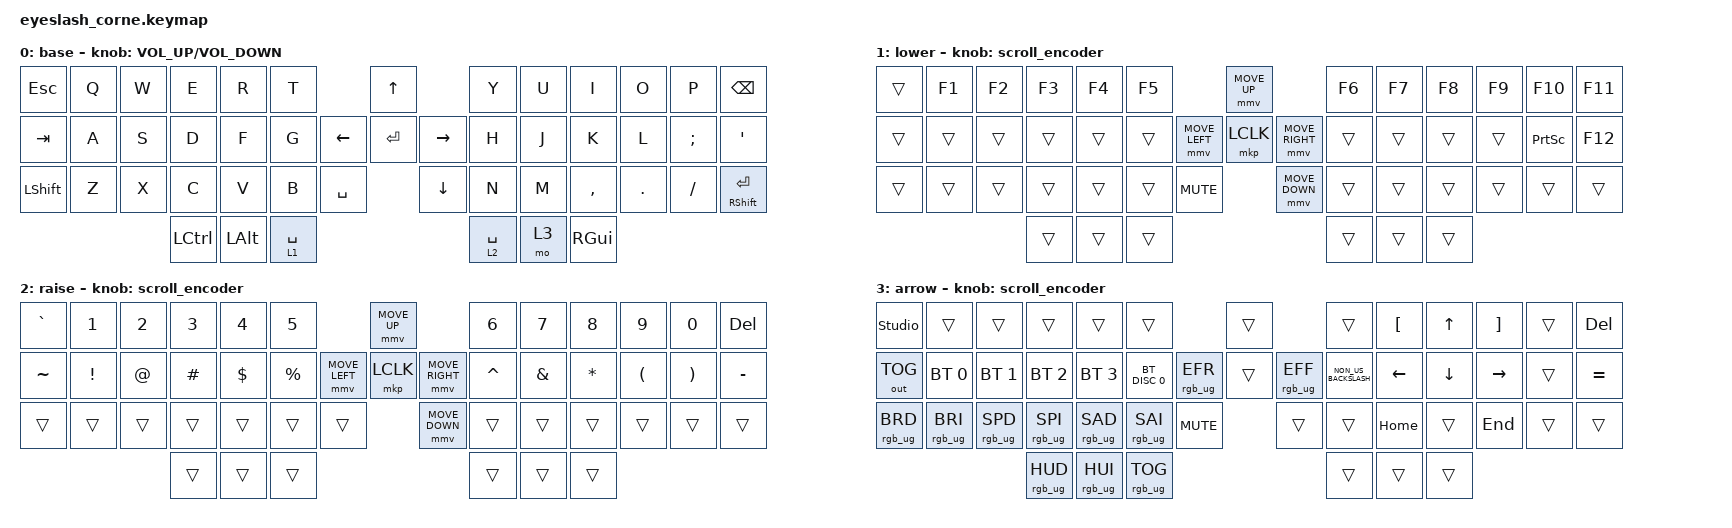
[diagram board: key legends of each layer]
#define ZMK_POINTING_DEFAULT_MOVE_VAL 1200  // 600
#define ZMK_POINTING_DEFAULT_SCRL_VAL 25   // 10

#include <input/processors.dtsi>
#include <zephyr/dt-bindings/input/input-event-codes.h>
#include <behaviors.dtsi>
#include <dt-bindings/zmk/bt.h>
#include <dt-bindings/zmk/keys.h>
#include <dt-bindings/zmk/outputs.h>
#include <dt-bindings/zmk/pointing.h>
#include <dt-bindings/zmk/rgb.h>

&mmv_input_listener { input-processors = <&zip_xy_scaler 2 1>; };

&msc_input_listener { input-processors = <&zip_scroll_scaler 2 1>; };

&msc {
    acceleration-exponent = <1>;      // 0
    time-to-max-speed-ms = <100>;       // 300
    delay-ms = <0>;                   // 0
};

&mmv {
    time-to-max-speed-ms = <500>;
    acceleration-exponent = <1>;
    trigger-period-ms = <16>;
};

&mt {
    tapping-term-ms = <150>; // 200 default
};

&lt {
    tapping-term-ms = <150>; // 200 default
};

/ {
    behaviors {
        td0: td0 {
            compatible = "zmk,behavior-tap-dance";
            display-name = "Shift/Caps Lock Tap Dance";
            #binding-cells = <0>;
            bindings = <&kp LEFT_SHIFT>, <&kp CAPS>;
        };
    };

    rgb_encoder: rgb_encoder {
        compatible = "zmk,behavior-sensor-rotate";
        #sensor-binding-cells = <0>;
        bindings = <&rgb_ug RGB_BRI>, <&rgb_ug RGB_BRD>;
    };

    scroll_encoder: scroll_encoder {
        compatible = "zmk,behavior-sensor-rotate";
        #sensor-binding-cells = <0>;
        bindings = <&msc SCRL_DOWN>, <&msc SCRL_UP>;

        tap-ms = <100>;
    };

    keymap {
        compatible = "zmk,keymap";

        default_layer {
            display-name = "base";
            bindings = <
&kp ESCAPE      &kp Q  &kp W  &kp E             &kp R         &kp T                               &kp UP                &kp Y        &kp U  &kp I          &kp O    &kp P     &kp BSPC
&kp TAB         &kp A  &kp S  &kp D             &kp F         &kp G                     &kp LEFT  &kp ENTER  &kp RIGHT  &kp H        &kp J  &kp K          &kp L    &kp SEMI  &kp SQT
&kp LEFT_SHIFT  &kp Z  &kp X  &kp C             &kp V         &kp B        &kp SPACE              &kp DOWN              &kp N        &kp M  &kp COMMA      &kp DOT  &kp FSLH  &mt RIGHT_SHIFT ENTER
                              &kp LEFT_CONTROL  &kp LEFT_ALT  &lt 1 SPACE                                               &lt 2 SPACE  &mo 3  &kp RIGHT_GUI
            >;

            sensor-bindings = <&inc_dec_kp C_VOLUME_UP C_VOLUME_DOWN>;
        };

        lower_layer {
            display-name = "lower";
            bindings = <
&trans  &kp F1  &kp F2  &kp F3  &kp F4  &kp F5                                &mmv MOVE_UP                     &kp F6  &kp F7  &kp F8  &kp F9  &kp F10          &kp F11
&trans  &trans  &trans  &trans  &trans  &trans                &mmv MOVE_LEFT  &mkp LCLK       &mmv MOVE_RIGHT  &trans  &trans  &trans  &trans  &kp PRINTSCREEN  &kp F12
&trans  &trans  &trans  &trans  &trans  &trans  &kp C_MUTE                    &mmv MOVE_DOWN                   &trans  &trans  &trans  &trans  &trans           &trans
                        &trans  &trans  &trans                                                                 &trans  &trans  &trans
            >;

            sensor-bindings = <&scroll_encoder>;
        };

        raise_layer {
            display-name = "raise";
            bindings = <
&kp GRAVE  &kp NUMBER_1  &kp NUMBER_2  &kp NUMBER_3  &kp NUMBER_4  &kp N5                                 &mmv MOVE_UP                     &kp NUMBER_6  &kp N7         &kp N8        &kp N9                &kp N0                 &kp DELETE
&kp TILDE  &kp EXCL      &kp AT        &kp HASH      &kp DOLLAR    &kp PERCENT            &mmv MOVE_LEFT  &mkp LCLK       &mmv MOVE_RIGHT  &kp CARET     &kp AMPERSAND  &kp ASTERISK  &kp LEFT_PARENTHESIS  &kp RIGHT_PARENTHESIS  &kp MINUS
&trans     &trans        &trans        &trans        &trans        &trans       &trans                    &mmv MOVE_DOWN                   &trans        &trans         &trans        &trans                &trans                 &trans
                                       &trans        &trans        &trans                                                                  &trans        &trans         &trans
            >;

            sensor-bindings = <&scroll_encoder>;
        };

        layer_3 {
            display-name = "arrow";
            bindings = <
&studio_unlock   &trans           &trans           &trans           &trans           &trans                                          &trans                   &trans                &kp LEFT_BRACKET  &kp UP_ARROW    &kp RIGHT_BRACKET  &trans  &kp DELETE
&out OUT_TOG     &bt BT_SEL 0     &bt BT_SEL 1     &bt BT_SEL 2     &bt BT_SEL 3     &bt BT_DISC 0                  &rgb_ug RGB_EFR  &trans  &rgb_ug RGB_EFF  &kp NON_US_BACKSLASH  &kp LEFT_ARROW    &kp DOWN_ARROW  &kp RIGHT_ARROW    &trans  &kp EQUAL
&rgb_ug RGB_BRD  &rgb_ug RGB_BRI  &rgb_ug RGB_SPD  &rgb_ug RGB_SPI  &rgb_ug RGB_SAD  &rgb_ug RGB_SAI  &kp C_MUTE                     &trans                   &trans                &kp HOME          &trans          &kp END            &trans  &trans
                                                   &rgb_ug RGB_HUD  &rgb_ug RGB_HUI  &rgb_ug RGB_TOG                                                          &trans                &trans            &trans
            >;

            sensor-bindings = <&scroll_encoder>;
        };
    };
};
